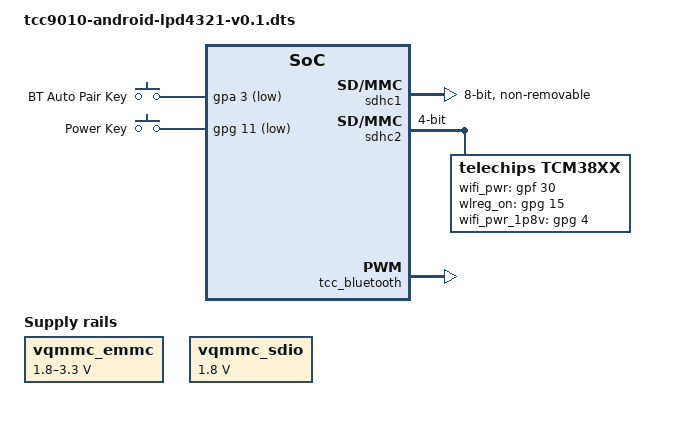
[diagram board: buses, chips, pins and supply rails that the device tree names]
// SPDX-License-Identifier: (GPL-2.0+ OR MIT)
/*
 * Device tree for Telechips TCC9010 STB board
 *
 * Copyright (C) 2019 Telechips Inc. - http://www.telechips.com
*/

#ifndef DT_OVERLAY
/dts-v1/;
#endif

#include "tcc9010-android-stb.dtsi"

/* eMMC */
&vqmmc_emmc {
	compatible = "regulator-gpio";

	regulator-name = "vqmmc_emmc";
	regulator-min-microvolt = <1800000>;
	regulator-max-microvolt = <3300000>;
	regulator-type = "voltage";
	regulator-ramp-delay = <10>;
	regulator-always-on;

	gpios = <&gpa 4 0x4>;
	gpios-states = <0>;
	states = <1800000 0x0
		3300000 0x1>;
};

&sdhc1 {
	status = "okay";
	bus-width = <8>;
	max-frequency = <200000000>;
	pinctrl-names = "default";
	pinctrl-0 = <&sd1_1_clk &sd1_1_cmd &sd1_1_bus8>;

	non-removable;
	keep-power-in-suspend;
	disable-wp;
	cap-mmc-hw-reset;
	mmc-ddr-1_8v;

	tcc-mmc-reset = <&gpa 6 0>;

	vqmmc-supply = <&vqmmc_emmc>;
};

/* SDIO */
&vqmmc_sdio {
	compatible = "regulator-fixed";
	regulator-name = "vqmmc_sdio";
	regulator-min-microvolt = <1800000>;
	regulator-max-microvolt = <1800000>;
	regulator-always-on;
};

&sdhc2 {
	status = "okay";
	bus-width = <4>;
	max-frequency = <2000000000>;
	pinctrl-names = "default";
	pinctrl-0 = <&sd2_1_clk &sd2_1_cmd &sd2_1_bus4>;

	keep-power-in-suspend;
	cap-sdio-irq;

	vqmmc-supply = <&vqmmc_sdio>;

	cd-force-presence-change;

	tcm38xx {
		compatible = "telechips,tcm38xx";
		wifi_pwr-gpio = <&gpf 30 0>; /* BT_WIFI_VBAT_EN */
		wlreg_on-gpio = <&gpg 15 0>; /* WIFI_REG_ON */
		wifi_pwr_1p8v-gpio = <&gpg 4 0>;
		//wifi_pwr_3p3v-gpio = <&gpsd1 7 0>;
	};
};

&tcc_bluetooth {
	compatible = "telechips, tcc_bluetooth";
	bt_power-gpio = <&gpf 30 0>; /* BTWIFI_VBAT_EN */
	bt_reg_on-gpio = <&gpc 21 0>;
	bt_wake-gpio = <&gpc 20 0>;
	bt_hwake-gpio = <&gpc 22 0>;
	bt_power_1p8v-gpio = <&gpg 4 0>;
	status = "okay";
};

&gpio_keys_polled {
        compatible = "gpio-keys-polled";
        #address-cells = <1>;
        #size-cells = <0>;
        poll-interval = <100>;
        autorepeat;
        button@0 {
                label = "BT Auto Pair Key";
                linux,code = <218>;
                gpios = <&gpa 3 1>;
        };
        button@1 {
                label = "Power Key";
                linux,code = <116>;
                gpios = <&gpg 11 1>;
        };
};
